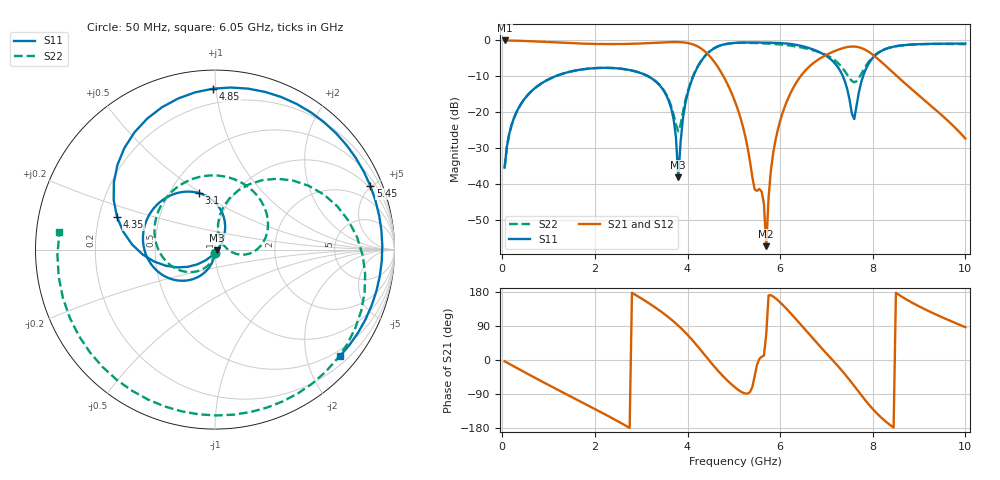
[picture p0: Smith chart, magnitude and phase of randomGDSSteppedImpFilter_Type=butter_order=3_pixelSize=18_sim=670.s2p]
! freq	dB(S11)	phase(S11)	dB(S12)	phase(S12)
!  dB(S21)	phase(S21)	dB(S22)	phase(S22)
!S-par simulation data
#  GHz  S  DB  R 50
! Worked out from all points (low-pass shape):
!   200 points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, 50 MHz to 10 GHz, reference 50 ohm
!   highest |S21| = -0.01 dB at 50 MHz (marker M1); lowest = -57.4 dB at 5.7 GHz (marker M2)
!   |S21| within 3 dB of the highest: start of sweep to 4.368 GHz; 7.169 GHz to 7.891 GHz (722.6 MHz wide, 9.6 % of centre)
!   lowest |S11| = -38.3 dB at 3.8 GHz (marker M3), VSWR 1.02, Z = 51.2 - j0.308 ohm
!   |S11| at or under -10 dB: start of sweep to 1.147 GHz; 3.147 GHz to 4.125 GHz (978.5 MHz wide, 26.9 % of centre); 7.355 GHz to 7.79 GHz (435.8 MHz wide, 5.76 % of centre)
!   |S22| runs from -35.5 to -0.7 dB; largest |S21 - S12| = 0
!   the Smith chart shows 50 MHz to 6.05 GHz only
!   S11 on the Smith chart (normalised r, x): 50 MHz: 1.00, -0.03; 3.1 GHz: 0.69, +0.49; 4.35 GHz: 0.28, +0.15; 4.85 GHz: 0.11, +0.98; 5.45 GHz: 0.86, +4.91; 6.05 GHz: 0.37, -2.66
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0.05  -35.52 -92.5  -0.01 -3.4  -0.01 -3.4  -35.54 -93.8
0.5  -15.99 -117.9  -0.16 -33.4  -0.16 -33.4  -16.01 -129.9
1.75  -8.04 178.2  -0.89 -113.5  -0.89 -113.5  -8.05 133.8
3.1  -9.70 105.9  -0.80 155.0  -0.80 155.0  -9.68 25.7
3.4  -12.56 84.2  -0.60 130.3  -0.60 130.3  -12.47 1.0
3.7  -22.05 53.3  -0.45 101.6  -0.45 101.6  -20.73 -8.0
3.8  -38.25 -14.2  -0.46 90.7  -0.46 90.7  -25.41 32.9
3.95  -17.80 -140.2  -0.61 72.9  -0.61 72.9  -16.93 83.3
4.35  -4.79 161.5  -2.80 16.5  -2.80 16.5  -4.72 41.5
4.85  -0.95 90.7  -11.87 -53.0  -11.87 -53.0  -0.96 -29.2
5.05  -0.66 66.4  -17.95 -74.6  -17.95 -74.6  -0.70 -54.0
5.45  -0.58 22.4  -41.63 -42.5  -41.63 -42.5  -0.72 -101.6
5.6  -0.60 6.6  -42.20 8.4  -42.20 8.4  -0.80 -120.4
5.7  -0.62 -3.9  -57.45 68.0  -57.45 68.0  -0.86 -133.6
5.8  -0.64 -14.3  -36.23 171.0  -36.23 171.0  -0.93 -147.5
6.05  -0.78 -40.5  -20.36 146.2  -20.36 146.2  -1.19 173.7
6.7  -2.47 -109.3  -6.51 57.6  -6.51 57.6  -2.70 54.8
7.2  -6.67 -166.0  -2.84 -9.4  -2.84 -9.4  -5.74 -18.9
7.6  -21.96 44.7  -1.71 -68.4  -1.71 -68.4  -11.68 -22.3
8.35  -2.07 -126.4  -7.94 -169.3  -7.94 -169.3  -2.05 -46.9
9.05  -1.02 176.9  -15.95 138.4  -15.95 138.4  -1.04 -93.0
10  -0.87 116.1  -27.40 86.5  -27.40 86.5  -1.05 -140.5
